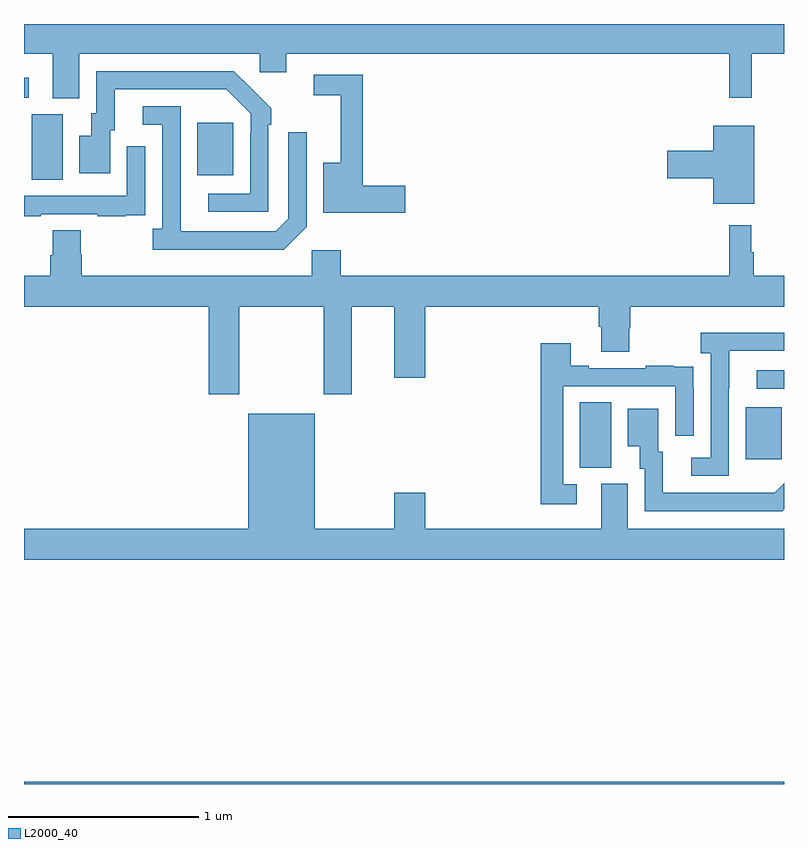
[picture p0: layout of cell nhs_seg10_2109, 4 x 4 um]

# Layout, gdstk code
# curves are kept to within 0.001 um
import gdstk
lib = gdstk.Library(unit=1e-6, precision=1e-09)
def R(c, l, rs):  # rectangles x0, y0, x1, y1
    for r in rs: c.add(gdstk.rectangle(r[:2], r[2:], *l))
def P(c, l, *ps):  # polygons
    for p in ps: c.add(gdstk.Polygon(p, *l))
L2000_40 = (2000, 40)

nhs_seg10_2109 = lib.new_cell('nhs_seg10_2109')
R(nhs_seg10_2109, L2000_40, [(223,1268.5,227,1268.512), (225.926,1270.165,226.09,1270.508), (226.799,1270.209,226.987,1270.483), (226.857,1270.581,227,1270.677), (223.04,1271.68,223.204,1272.024), (223.913,1271.705,224.101,1271.98), (223,1272.111,223.024,1272.217)])
P(nhs_seg10_2109, L2000_40, [(223,1272.344),(223.151,1272.344),(223.151,1272.109),(223.291,1272.109),(223.291,1272.344),(224.241,1272.344),(224.241,1272.246),(224.38,1272.246),(224.38,1272.344),(226.711,1272.344),(226.711,1272.111),(226.829,1272.111),(226.829,1272.344),(227,1272.344),(227,1272.5),(223,1272.5)],
  [(224.286,1271.969),(224.301,1271.969),(224.301,1272.057),(224.104,1272.252),(223.38,1272.252),(223.38,1272.03),(223.355,1272.03),(223.355,1271.911),(223.292,1271.911),(223.292,1271.715),(223.453,1271.715),(223.453,1271.94),(223.477,1271.94),(223.477,1272.156),(224.065,1272.156),(224.193,1272.027),(224.193,1271.927),(224.19,1271.927),(224.19,1271.607),(223.971,1271.607),(223.971,1271.511),(224.286,1271.511)],
  [(225.007,1271.648),(224.783,1271.648),(224.783,1272.234),(224.526,1272.234),(224.526,1272.126),(224.666,1272.126),(224.666,1271.77),(224.576,1271.77),(224.576,1271.506),(225.007,1271.506)],
  [(224.487,1271.433),(224.487,1271.929),(224.391,1271.929),(224.391,1271.475),(224.325,1271.409),(223.825,1271.409),(223.824,1272.066),(223.626,1272.066),(223.626,1271.97),(223.728,1271.97),(223.728,1271.422),(223.677,1271.422),(223.677,1271.312),(224.366,1271.312)],
  [(226.843,1271.965),(226.628,1271.965),(226.628,1271.834),(226.386,1271.834),(226.386,1271.687),(226.628,1271.687),(226.628,1271.555),(226.843,1271.555)],
  [(223.087,1271.499),(223.387,1271.499),(223.387,1271.487),(223.535,1271.487),(223.535,1271.493),(223.637,1271.493),(223.637,1271.602),(223.638,1271.602),(223.638,1271.857),(223.542,1271.857),(223.542,1271.595),(223,1271.595),(223,1271.487),(223.087,1271.487)],
  [(226.828,1271.3),(226.828,1271.44),(226.711,1271.44),(226.711,1271.176),(224.666,1271.176),(224.666,1271.308),(224.514,1271.308),(224.514,1271.176),(223.304,1271.176),(223.304,1271.289),(223.299,1271.289),(223.299,1271.414),(223.151,1271.414),(223.151,1271.282),(223.139,1271.282),(223.139,1271.176),(223,1271.176),(223,1271.012),(223.973,1271.012),(223.973,1270.551),(224.133,1270.551),(224.133,1271.012),(224.578,1271.012),(224.578,1270.551),(224.725,1270.551),(224.725,1271.012),(224.948,1271.012),(224.948,1270.638),(225.112,1270.638),(225.112,1271.012),(226.025,1271.012),(226.025,1270.906),(226.037,1270.906),(226.037,1270.774),(226.185,1270.774),(226.185,1270.899),(226.19,1270.899),(226.19,1271.012),(227,1271.012),(227,1271.176),(226.84,1271.176),(226.84,1271.3)],
  [(226.71,1270.579),(226.711,1270.579),(226.711,1270.779),(227,1270.779),(227,1270.876),(226.563,1270.876),(226.563,1270.766),(226.614,1270.766),(226.614,1270.218),(226.512,1270.218),(226.512,1270.122),(226.71,1270.122)],
  [(225.91,1270.077),(225.837,1270.077),(225.837,1270.593),(226.428,1270.593),(226.428,1270.332),(226.524,1270.332),(226.524,1270.586),(226.523,1270.586),(226.523,1270.695),(226.421,1270.695),(226.421,1270.702),(226.273,1270.702),(226.273,1270.689),(225.973,1270.689),(225.973,1270.702),(225.877,1270.702),(225.877,1270.819),(225.721,1270.819),(225.721,1269.972),(225.91,1269.972)],
  [(227,1269.946),(227,1270.082),(226.951,1270.033),(226.363,1270.032),(226.363,1270.248),(226.339,1270.248),(226.339,1270.474),(226.178,1270.474),(226.178,1270.277),(226.241,1270.277),(226.241,1270.158),(226.266,1270.158),(226.266,1269.936),(226.99,1269.936)],
  [(227,1269.844),(226.177,1269.844),(226.177,1270.08),(226.037,1270.08),(226.037,1269.844),(225.112,1269.844),(225.112,1270.033),(224.948,1270.033),(224.948,1269.844),(224.53,1269.844),(224.53,1270.45),(224.18,1270.45),(224.18,1269.844),(223,1269.844),(223,1269.68),(227,1269.68)])

lib.write_gds('nhs_seg10_2109.gds')
